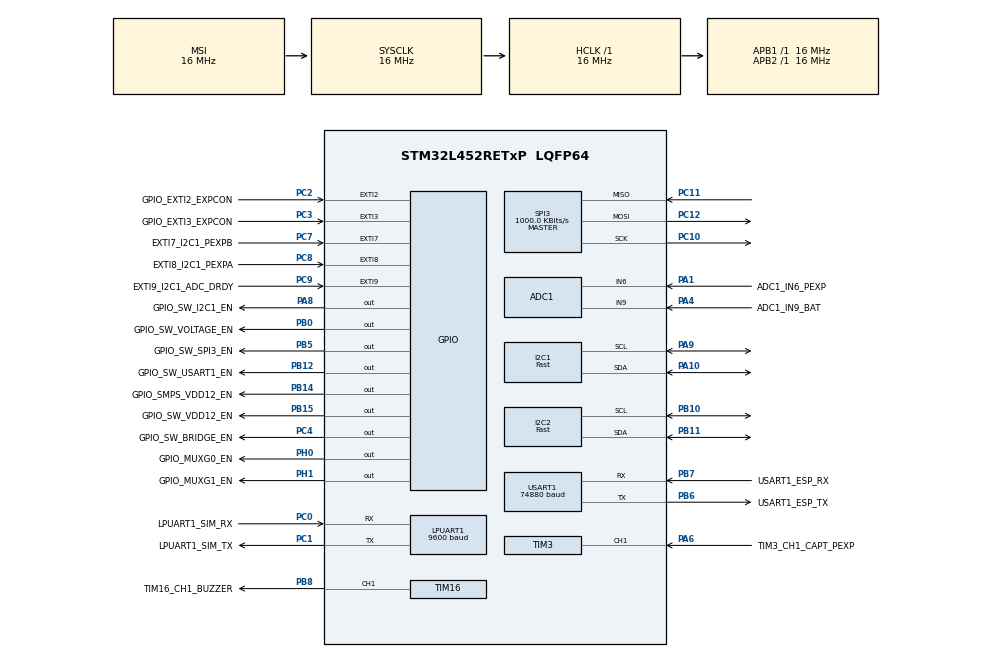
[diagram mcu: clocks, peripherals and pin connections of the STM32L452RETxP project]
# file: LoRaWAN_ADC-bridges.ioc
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ADC1.Channel-0\#ChannelRegularConversion=ADC_CHANNEL_VREFINT
ADC1.Channel-1\#ChannelRegularConversion=ADC_CHANNEL_VBAT
ADC1.Channel-2\#ChannelRegularConversion=ADC_CHANNEL_9
ADC1.Channel-3\#ChannelRegularConversion=ADC_CHANNEL_6
ADC1.Channel-5\#ChannelRegularConversion=ADC_CHANNEL_TEMPSENSOR
ADC1.EOCSelection=ADC_EOC_SEQ_CONV
ADC1.NbrOfConversion=5
ADC1.NbrOfConversionFlag=1
ADC1.OffsetNumber-0\#ChannelRegularConversion=ADC_OFFSET_NONE
ADC1.OffsetNumber-1\#ChannelRegularConversion=ADC_OFFSET_NONE
ADC1.OffsetNumber-2\#ChannelRegularConversion=ADC_OFFSET_NONE
ADC1.OffsetNumber-3\#ChannelRegularConversion=ADC_OFFSET_NONE
ADC1.OffsetNumber-5\#ChannelRegularConversion=ADC_OFFSET_NONE
ADC1.OversamplingMode=ENABLE
ADC1.Rank-0\#ChannelRegularConversion=1
ADC1.Rank-1\#ChannelRegularConversion=2
ADC1.Rank-2\#ChannelRegularConversion=3
ADC1.Rank-3\#ChannelRegularConversion=4
ADC1.Rank-5\#ChannelRegularConversion=5
ADC1.Ratio=ADC_OVERSAMPLING_RATIO_16
ADC1.SamplingTime-0\#ChannelRegularConversion=ADC_SAMPLETIME_12CYCLES_5
ADC1.SamplingTime-1\#ChannelRegularConversion=ADC_SAMPLETIME_12CYCLES_5
ADC1.SamplingTime-2\#ChannelRegularConversion=ADC_SAMPLETIME_12CYCLES_5
ADC1.SamplingTime-3\#ChannelRegularConversion=ADC_SAMPLETIME_12CYCLES_5
ADC1.SamplingTime-5\#ChannelRegularConversion=ADC_SAMPLETIME_47CYCLES_5
ADC1.master=1
CRC.InputDataFormat=CRC_INPUTDATA_FORMAT_WORDS
Dma.ADC1.6.Direction=DMA_PERIPH_TO_MEMORY
Dma.ADC1.6.Instance=DMA1_Channel1
Dma.ADC1.6.MemDataAlignment=DMA_MDATAALIGN_HALFWORD
Dma.ADC1.6.MemInc=DMA_MINC_ENABLE
Dma.ADC1.6.Mode=DMA_NORMAL
Dma.ADC1.6.PeriphDataAlignment=DMA_PDATAALIGN_HALFWORD
Dma.ADC1.6.PeriphInc=DMA_PINC_DISABLE
Dma.ADC1.6.Priority=DMA_PRIORITY_LOW
Dma.I2C1_RX.1.Direction=DMA_PERIPH_TO_MEMORY
Dma.I2C1_RX.1.Instance=DMA1_Channel7
Dma.I2C1_RX.1.MemDataAlignment=DMA_MDATAALIGN_BYTE
Dma.I2C1_RX.1.MemInc=DMA_MINC_ENABLE
Dma.I2C1_RX.1.Mode=DMA_NORMAL
Dma.I2C1_RX.1.PeriphDataAlignment=DMA_PDATAALIGN_BYTE
Dma.I2C1_RX.1.PeriphInc=DMA_PINC_DISABLE
Dma.I2C1_RX.1.Priority=DMA_PRIORITY_LOW
Dma.I2C1_TX.0.Direction=DMA_MEMORY_TO_PERIPH
Dma.I2C1_TX.0.Instance=DMA1_Channel6
Dma.I2C1_TX.0.MemDataAlignment=DMA_MDATAALIGN_BYTE
Dma.I2C1_TX.0.MemInc=DMA_MINC_ENABLE
Dma.I2C1_TX.0.Mode=DMA_NORMAL
Dma.I2C1_TX.0.PeriphDataAlignment=DMA_PDATAALIGN_BYTE
Dma.I2C1_TX.0.PeriphInc=DMA_PINC_DISABLE
Dma.I2C1_TX.0.Priority=DMA_PRIORITY_LOW
Dma.I2C2_RX.8.Direction=DMA_PERIPH_TO_MEMORY
Dma.I2C2_RX.8.Instance=DMA1_Channel5
Dma.I2C2_RX.8.MemDataAlignment=DMA_MDATAALIGN_BYTE
Dma.I2C2_RX.8.MemInc=DMA_MINC_ENABLE
Dma.I2C2_RX.8.Mode=DMA_NORMAL
Dma.I2C2_RX.8.PeriphDataAlignment=DMA_PDATAALIGN_BYTE
Dma.I2C2_RX.8.PeriphInc=DMA_PINC_DISABLE
Dma.I2C2_RX.8.Priority=DMA_PRIORITY_LOW
Dma.I2C2_TX.7.Direction=DMA_MEMORY_TO_PERIPH
Dma.I2C2_TX.7.Instance=DMA1_Channel4
Dma.I2C2_TX.7.MemDataAlignment=DMA_MDATAALIGN_BYTE
Dma.I2C2_TX.7.MemInc=DMA_MINC_ENABLE
Dma.I2C2_TX.7.Mode=DMA_NORMAL
Dma.I2C2_TX.7.PeriphDataAlignment=DMA_PDATAALIGN_BYTE
Dma.I2C2_TX.7.PeriphInc=DMA_PINC_DISABLE
Dma.I2C2_TX.7.Priority=DMA_PRIORITY_LOW
Dma.LPUART_RX.5.Direction=DMA_PERIPH_TO_MEMORY
Dma.LPUART_RX.5.Instance=DMA2_Channel7
Dma.LPUART_RX.5.MemDataAlignment=DMA_MDATAALIGN_BYTE
Dma.LPUART_RX.5.MemInc=DMA_MINC_ENABLE
Dma.LPUART_RX.5.Mode=DMA_NORMAL
Dma.LPUART_RX.5.PeriphDataAlignment=DMA_PDATAALIGN_BYTE
Dma.LPUART_RX.5.PeriphInc=DMA_PINC_DISABLE
Dma.LPUART_RX.5.Priority=DMA_PRIORITY_LOW
Dma.LPUART_TX.4.Direction=DMA_MEMORY_TO_PERIPH
Dma.LPUART_TX.4.Instance=DMA2_Channel6
Dma.LPUART_TX.4.MemDataAlignment=DMA_MDATAALIGN_BYTE
Dma.LPUART_TX.4.MemInc=DMA_MINC_ENABLE
Dma.LPUART_TX.4.Mode=DMA_NORMAL
Dma.LPUART_TX.4.PeriphDataAlignment=DMA_PDATAALIGN_BYTE
Dma.LPUART_TX.4.PeriphInc=DMA_PINC_DISABLE
Dma.LPUART_TX.4.Priority=DMA_PRIORITY_LOW
Dma.Request0=I2C1_TX
Dma.Request1=I2C1_RX
Dma.Request2=SPI3_TX
Dma.Request3=SPI3_RX
Dma.Request4=LPUART_TX
Dma.Request5=LPUART_RX
Dma.Request6=ADC1
Dma.Request7=I2C2_TX
Dma.Request8=I2C2_RX
Dma.SPI3_RX.3.Direction=DMA_PERIPH_TO_MEMORY
Dma.SPI3_RX.3.Instance=DMA2_Channel1
Dma.SPI3_RX.3.MemDataAlignment=DMA_MDATAALIGN_BYTE
Dma.SPI3_RX.3.MemInc=DMA_MINC_ENABLE
Dma.SPI3_RX.3.Mode=DMA_NORMAL
Dma.SPI3_RX.3.PeriphDataAlignment=DMA_PDATAALIGN_BYTE
Dma.SPI3_RX.3.PeriphInc=DMA_PINC_DISABLE
Dma.SPI3_RX.3.Priority=DMA_PRIORITY_LOW
Dma.SPI3_TX.2.Direction=DMA_MEMORY_TO_PERIPH
Dma.SPI3_TX.2.Instance=DMA2_Channel2
Dma.SPI3_TX.2.MemDataAlignment=DMA_MDATAALIGN_BYTE
Dma.SPI3_TX.2.MemInc=DMA_MINC_ENABLE
Dma.SPI3_TX.2.Mode=DMA_NORMAL
Dma.SPI3_TX.2.PeriphDataAlignment=DMA_PDATAALIGN_BYTE
Dma.SPI3_TX.2.PeriphInc=DMA_PINC_DISABLE
Dma.SPI3_TX.2.Priority=DMA_PRIORITY_LOW
FREERTOS.BinarySemaphores01=usart1Tx_BSem,Dynamic,NULL;usart1Rx_BSem,Dynamic,NULL;i2c1_BSem,Dynamic,NULL;i2c2_BSem,Dynamic,NULL;spi3_BSem,Dynamic,NULL
FREERTOS.INCLUDE_eTaskGetState=1
FREERTOS.INCLUDE_pcTaskGetTaskName=1
FREERTOS.INCLUDE_uxTaskGetStackHighWaterMark=1
FREERTOS.INCLUDE_vTaskCleanUpResources=1
FREERTOS.INCLUDE_vTaskDelayUntil=1
FREERTOS.INCLUDE_vTaskDelete=1
FREERTOS.INCLUDE_xEventGroupSetBitFromISR=1
FREERTOS.INCLUDE_xQueueGetMutexHolder=1
FREERTOS.INCLUDE_xSemaphoreGetMutexHolder=1
FREERTOS.INCLUDE_xTaskAbortDelay=1
FREERTOS.INCLUDE_xTaskGetCurrentTaskHandle=1
FREERTOS.INCLUDE_xTaskGetHandle=1
FREERTOS.INCLUDE_xTaskGetSchedulerState=1
FREERTOS.INCLUDE_xTimerPendFunctionCall=1
FREERTOS.Mutexes01=trackMeApplUpDataMutex,Dynamic,NULL;trackMeApplDnDataMutex,Dynamic,NULL;iot4BeesApplUpDataMutex,Dynamic,NULL;iot4BeesApplDnDataMutex,Dynamic,NULL
FREERTOS.Queues01=usart1TxQueue,256,uint8_t,0,Dynamic,NULL,NULL;usart1RxQueue,32,uint8_t,0,Dynamic,NULL,NULL;loraInQueue,32,uint8_t,0,Dynamic,NULL,NULL;loraOutQueue,32,uint8_t,0,Dynamic,NULL,NULL;loraMacQueue,8,uint8_t,0,Dynamic,NULL,NULL;soundInQueue,8,uint32_t,0,Dynamic,NULL,NULL
FREERTOS.Tasks01=defaultTask,-1,512,StartDefaultTask,Default,NULL,Dynamic,NULL,NULL;usart1TxTask,0,256,StartUsart1TxTask,Default,NULL,Dynamic,NULL,NULL;usart1RxTask,1,256,StartUsart1RxTask,Default,NULL,Dynamic,NULL,NULL;lorawanTask,0,512,StartLorawanTask,Default,NULL,Dynamic,NULL,NULL;espTask,0,512,StartEspTask,Default,NULL,Dynamic,NULL,NULL;adcTask,0,512,StartAdcTask,Default,NULL,Dynamic,NULL,NULL;soundTask,-2,256,StartSoundTask,Default,NULL,Dynamic,NULL,NULL
FREERTOS.configCHECK_FOR_STACK_OVERFLOW=1
FREERTOS.configENABLE_BACKWARD_COMPATIBILITY=0
FREERTOS.configGENERATE_RUN_TIME_STATS=1
FREERTOS.configMAX_TASK_NAME_LEN=32
FREERTOS.configMINIMAL_STACK_SIZE=256
FREERTOS.configQUEUE_REGISTRY_SIZE=32
FREERTOS.configRECORD_STACK_HIGH_ADDRESS=1
FREERTOS.configTIMER_QUEUE_LENGTH=4
FREERTOS.configTOTAL_HEAP_SIZE=32768
FREERTOS.configUSE_APPLICATION_TASK_TAG=1
FREERTOS.configUSE_COUNTING_SEMAPHORES=1
FREERTOS.configUSE_IDLE_HOOK=1
FREERTOS.configUSE_MALLOC_FAILED_HOOK=1
FREERTOS.configUSE_RECURSIVE_MUTEXES=0
FREERTOS.configUSE_STATS_FORMATTING_FUNCTIONS=1
FREERTOS.configUSE_TICKLESS_IDLE=0
FREERTOS.configUSE_TIMERS=1
FREERTOS.configUSE_TRACE_FACILITY=1
I2C1.I2C_Coeff_DF=2
I2C1.I2C_Fall_Time=120
I2C1.I2C_Rise_Time=150
I2C1.I2C_Speed_Mode=I2C_Fast
I2C1.Timing=0x00300414
I2C2.I2C_Coeff_DF=2
I2C2.I2C_Fall_Time=120
I2C2.I2C_Rise_Time=150
I2C2.I2C_Speed_Mode=I2C_Fast
I2C2.Timing=0x00300414
LPUART1.BaudRate=9600
LPUART1.WordLength=UART_WORDLENGTH_8B
Mcu.Family=STM32L4
Mcu.Name=STM32L452RETxP
Mcu.Package=LQFP64
NVIC.ADC1_IRQn=true\:5\:0\:false\:false\:true\:true\:true\:true
NVIC.DMA1_Channel1_IRQn=true\:5\:0\:false\:false\:true\:true\:false\:true
NVIC.DMA1_Channel4_IRQn=true\:5\:0\:false\:false\:true\:true\:false\:true
NVIC.DMA1_Channel5_IRQn=true\:5\:0\:false\:false\:true\:true\:false\:true
NVIC.DMA1_Channel6_IRQn=true\:5\:0\:false\:false\:true\:true\:true\:true
NVIC.DMA1_Channel7_IRQn=true\:5\:0\:false\:false\:true\:true\:true\:true
NVIC.DMA2_Channel1_IRQn=true\:5\:0\:false\:false\:true\:true\:true\:true
NVIC.DMA2_Channel2_IRQn=true\:5\:0\:false\:false\:true\:true\:true\:true
NVIC.DMA2_Channel6_IRQn=true\:5\:0\:false\:false\:true\:true\:true\:true
NVIC.DMA2_Channel7_IRQn=true\:5\:0\:false\:false\:true\:true\:true\:true
NVIC.EXTI2_IRQn=true\:5\:0\:false\:false\:true\:true\:true\:true
NVIC.EXTI3_IRQn=true\:5\:0\:false\:false\:true\:true\:true\:true
NVIC.EXTI9_5_IRQn=true\:5\:0\:false\:false\:true\:true\:true\:true
NVIC.I2C1_ER_IRQn=true\:5\:0\:false\:false\:true\:true\:true\:true
NVIC.I2C1_EV_IRQn=true\:5\:0\:false\:false\:true\:true\:true\:true
NVIC.I2C2_ER_IRQn=true\:5\:0\:false\:false\:true\:true\:true\:true
NVIC.I2C2_EV_IRQn=true\:5\:0\:false\:false\:true\:true\:true\:true
NVIC.LPUART1_IRQn=true\:5\:0\:false\:false\:true\:true\:true\:true
NVIC.PriorityGroup=NVIC_PRIORITYGROUP_4
NVIC.RTC_WKUP_IRQn=true\:5\:0\:false\:false\:true\:true\:true\:true
NVIC.SPI3_IRQn=true\:5\:0\:false\:false\:true\:true\:true\:true
NVIC.TIM2_IRQn=true\:0\:0\:false\:false\:true\:false\:false\:true
NVIC.TimeBase=TIM2_IRQn
NVIC.TimeBaseIP=TIM2
NVIC.USART1_IRQn=true\:5\:0\:false\:false\:true\:true\:true\:true
PA0.GPIO_Label=REED_WKUP
PA0.Mode=SYS_WakeUp0
PA0.Signal=SYS_WKUP1
PA1.GPIO_Label=ADC1_IN6_PEXP
PA1.Signal=ADCx_IN6
PA10.GPIO_PuPdOD=GPIO_NOPULL
PA10.GPIO_Speed=GPIO_SPEED_FREQ_HIGH
PA10.Mode=I2C
PA10.Signal=I2C1_SDA
PA11.GPIO_Label=USART1_ESP_CTS
PA11.GPIO_PuPd=GPIO_PULLUP
PA11.GPIO_Speed=GPIO_SPEED_FREQ_MEDIUM
PA11.Signal=USART1_CTS
PA12.GPIO_Label=USART1_ESP_RTS
PA12.GPIO_PuPd=GPIO_PULLUP
PA12.GPIO_Speed=GPIO_SPEED_FREQ_MEDIUM
PA12.Signal=USART1_RTS
PA13\ (JTMS/SWDIO).Mode=Serial_Wire
PA13\ (JTMS/SWDIO).Signal=SYS_JTMS-SWDIO
PA14\ (JTCK/SWCLK).Mode=Serial_Wire
PA14\ (JTCK/SWCLK).Signal=SYS_JTCK-SWCLK
PA2.Mode=Clock-out-LSCO
PA2.Signal=RCC_LSCO
PA4.GPIO_Label=ADC1_IN9_BAT
PA4.Signal=ADCx_IN9
PA6.GPIO_Label=TIM3_CH1_CAPT_PEXP
PA6.Signal=S_TIM3_CH1
PA8.GPIO_Label=GPIO_SW_I2C1_EN
PA8.GPIO_PuPd=GPIO_NOPULL
PA8.Signal=GPIO_Output
PA9.GPIO_PuPdOD=GPIO_NOPULL
PA9.GPIO_Speed=GPIO_SPEED_FREQ_HIGH
PA9.Mode=I2C
PA9.Signal=I2C1_SCL
PB0.GPIO_Label=GPIO_SW_VOLTAGE_EN
PB0.GPIO_PuPd=GPIO_NOPULL
PB0.Signal=GPIO_Output
PB1.GPIO_Label=LPUART1_SIM_RTS
PB1.GPIO_PuPd=GPIO_PULLUP
PB1.GPIO_Speed=GPIO_SPEED_FREQ_MEDIUM
PB1.Signal=LPUART1_RTS
PB10.GPIO_PuPdOD=GPIO_PULLUP
PB10.GPIO_Speed=GPIO_SPEED_FREQ_HIGH
PB10.Mode=I2C
PB10.Signal=I2C2_SCL
PB11.GPIO_PuPdOD=GPIO_PULLUP
PB11.GPIO_Speed=GPIO_SPEED_FREQ_HIGH
PB11.Mode=I2C
PB11.Signal=I2C2_SDA
PB12.GPIO_Label=GPIO_SW_USART1_EN
PB12.GPIO_PuPd=GPIO_NOPULL
PB12.Signal=GPIO_Output
PB13.GPIO_Label=LPUART1_SIM_CTS
PB13.GPIO_PuPd=GPIO_PULLUP
PB13.GPIO_Speed=GPIO_SPEED_FREQ_MEDIUM
PB13.Signal=LPUART1_CTS
PB14.GPIO_Label=GPIO_SMPS_VDD12_EN
PB14.GPIO_PuPd=GPIO_NOPULL
PB14.Signal=GPIO_Output
PB15.GPIO_Label=GPIO_SW_VDD12_EN
PB15.GPIO_PuPd=GPIO_NOPULL
PB15.Signal=GPIO_Output
PB5.GPIO_Label=GPIO_SW_SPI3_EN
PB5.GPIO_PuPd=GPIO_NOPULL
PB5.Signal=GPIO_Output
PB6.GPIO_Label=USART1_ESP_TX
PB6.GPIO_Speed=GPIO_SPEED_FREQ_MEDIUM
PB6.Mode=Asynchronous
PB6.Signal=USART1_TX
PB7.GPIO_Label=USART1_ESP_RX
PB7.GPIO_PuPd=GPIO_PULLUP
PB7.GPIO_Speed=GPIO_SPEED_FREQ_MEDIUM
PB7.Mode=Asynchronous
PB7.Signal=USART1_RX
PB8.GPIO_Label=TIM16_CH1_BUZZER
PB8.Signal=S_TIM16_CH1
PC0.GPIO_Label=LPUART1_SIM_RX
PC0.GPIO_PuPd=GPIO_PULLUP
PC0.GPIO_Speed=GPIO_SPEED_FREQ_MEDIUM
PC0.Mode=Asynchronous
PC0.Signal=LPUART1_RX
PC1.GPIO_Label=LPUART1_SIM_TX
PC1.GPIO_Speed=GPIO_SPEED_FREQ_MEDIUM
PC1.Mode=Asynchronous
PC1.Signal=LPUART1_TX
PC10.Mode=Full_Duplex_Master
PC10.Signal=SPI3_SCK
PC11.GPIO_PuPd=GPIO_PULLDOWN
PC11.Mode=Full_Duplex_Master
PC11.Signal=SPI3_MISO
PC12.Mode=Full_Duplex_Master
PC12.Signal=SPI3_MOSI
PC13.GPIO_Label=BOARD_WKUP
PC13.Mode=SYS_WakeUp1
PC13.Signal=SYS_WKUP2
PC14-OSC32_IN\ (PC14).Mode=LSE-External-Oscillator
PC14-OSC32_IN\ (PC14).Signal=RCC_OSC32_IN
PC15-OSC32_OUT\ (PC15).Mode=LSE-External-Oscillator
PC15-OSC32_OUT\ (PC15).Signal=RCC_OSC32_OUT
PC2.GPIO_Label=GPIO_EXTI2_EXPCON
PC2.GPIO_PuPd=GPIO_PULLDOWN
PC2.Signal=GPXTI2
PC3.GPIO_Label=GPIO_EXTI3_EXPCON
PC3.GPIO_PuPd=GPIO_PULLDOWN
PC3.Signal=GPXTI3
PC4.GPIO_Label=GPIO_SW_BRIDGE_EN
PC4.GPIO_PuPd=GPIO_NOPULL
PC4.Signal=GPIO_Output
PC7.GPIO_Label=EXTI7_I2C1_PEXPB
PC7.GPIO_ModeDefaultEXTI=GPIO_MODE_IT_FALLING
PC7.GPIO_PuPd=GPIO_PULLUP
PC7.Signal=GPXTI7
PC8.GPIO_Label=EXTI8_I2C1_PEXPA
PC8.GPIO_ModeDefaultEXTI=GPIO_MODE_IT_FALLING
PC8.GPIO_PuPd=GPIO_PULLUP
PC8.Signal=GPXTI8
PC9.GPIO_Label=EXTI9_I2C1_ADC_DRDY
PC9.GPIO_PuPd=GPIO_PULLDOWN
PC9.Signal=GPXTI9
PH0-OSC_IN\ (PH0).GPIO_Label=GPIO_MUXG0_EN
PH0-OSC_IN\ (PH0).GPIO_PuPd=GPIO_NOPULL
PH0-OSC_IN\ (PH0).Signal=GPIO_Output
PH1-OSC_OUT\ (PH1).GPIO_Label=GPIO_MUXG1_EN
PH1-OSC_OUT\ (PH1).GPIO_PuPd=GPIO_NOPULL
PH1-OSC_OUT\ (PH1).Signal=GPIO_Output
ProjectManager.HeapSize=0x200
ProjectManager.StackSize=0x400
ProjectManager.TargetToolchain=TrueSTUDIO
RCC.ADCCLockSelection=RCC_ADCCLKSOURCE_SYSCLK
RCC.ADCFreq_Value=16000000
RCC.AHBFreq_Value=16000000
RCC.APB1Freq_Value=16000000
RCC.APB1TimFreq_Value=16000000
RCC.APB2Freq_Value=16000000
RCC.APB2TimFreq_Value=16000000
RCC.CK48CLockSelection=RCC_USBCLKSOURCE_MSI
RCC.CortexFreq_Value=16000000
RCC.HCLKFreq_Value=16000000
RCC.HSE_VALUE=8000000
RCC.HSI48_VALUE=48000000
RCC.HSI_VALUE=16000000
RCC.LPUART1CLockSelection=RCC_LPUART1CLKSOURCE_HSI
RCC.LSCOSource1=RCC_LSCOSOURCE_LSE
RCC.LSE_Drive_Capability=RCC_LSEDRIVE_LOW
RCC.MSIClockRange=RCC_MSIRANGE_8
RCC.MSI_VALUE=16000000
RCC.PLLSourceVirtual=RCC_PLLSOURCE_HSI
RCC.PREFETCH_ENABLE=0
RCC.PWR_Regulator_Voltage_Scale=PWR_REGULATOR_VOLTAGE_SCALE2
RCC.RTCClockSelection=RCC_RTCCLKSOURCE_LSE
RCC.SYSCLKFreq_VALUE=16000000
RCC.USBFreq_Value=16000000
RCC.VCOOutputFreq_Value=128000000
RTC.WakeUpClock-WakeUp=RTC_WAKEUPCLOCK_CK_SPRE_16BITS
RTC.WakeUpCounter-WakeUp=299
SH.ADCx_IN6.0=ADC1_IN6,IN6-Single-Ended
SH.ADCx_IN9.0=ADC1_IN9,IN9-Single-Ended
SH.S_TIM16_CH1.0=TIM16_CH1,PWM Generation1 CH1
SH.S_TIM3_CH1.0=TIM3_CH1,Input_Capture1_from_TI1
SPI3.BaudRatePrescaler=SPI_BAUDRATEPRESCALER_16
SPI3.CLKPhase=SPI_PHASE_1EDGE
SPI3.CalculateBaudRate=1000.0 KBits/s
SPI3.DataSize=SPI_DATASIZE_8BIT
SPI3.Direction=SPI_DIRECTION_2LINES
SPI3.Mode=SPI_MODE_MASTER
SPI3.VirtualType=VM_MASTER
TIM16.Channel=TIM_CHANNEL_1
TIM16.Pulse=36364
TIM3.Channel-Input_Capture1_from_TI1=TIM_CHANNEL_1
USART1.BaudRate=74880
USART1.VirtualMode-Asynchronous=VM_ASYNC
VP_ADC1_TempSens_Input.Mode=IN-TempSens
VP_ADC1_Vbat_Input.Mode=IN-Vbat
VP_ADC1_Vref_Input.Mode=IN-Vrefint
VP_CRC_VS_CRC.Mode=CRC_Activate
VP_FREERTOS_VS_CMSIS_V1.Mode=CMSIS_V1
VP_RNG_VS_RNG.Mode=RNG_Activate
VP_RTC_VS_RTC_Activate.Mode=RTC_Enabled
VP_RTC_VS_RTC_WakeUp_intern.Mode=WakeUp
VP_SYS_VS_tim2.Mode=TIM2
VP_SYS_V_PVD_IN.Mode=Mode_PVD_Int
VP_TIM16_VS_ClockSourceINT.Mode=Enable_Timer
VP_TIM3_VS_ClockSourceINT.Mode=Internal
board=custom

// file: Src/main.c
/* USER CODE BEGIN Header */
/**
  ******************************************************************************
  * @file           : main.c
  * @brief          : Main program body
  ******************************************************************************
  * @attention
  *
  * <h2><center>&copy; Copyright (c) 2019 STMicroelectronics.
  * All rights reserved.</center></h2>
  *
  * This software component is licensed by ST under Ultimate Liberty license
  * SLA0044, the "License"; You may not use this file except in compliance with
  * the License. You may obtain a copy of the License at:
  *                             www.st.com/SLA0044
  *
  ******************************************************************************
  */
/* USER CODE END Header */

#include "main.h"
#include "cmsis_os.h"
#include "adc.h"
#include "crc.h"
#include "dma.h"
#include "i2c.h"
#include "usart.h"
#include "rng.h"
#include "rtc.h"
#include "spi.h"
#include "tim.h"
#include "gpio.h"

/* USER CODE BEGIN Includes */
#include "stm32l4xx_hal_pwr_ex.h"
#include "device_portexp.h"
#include "device_fram.h"
#include "device_sx1261.h"

/* USER CODE END Includes */

/* USER CODE BEGIN PV */
extern TIM_HandleTypeDef              htim2;

uint32_t                              g_RTC_WUT_value         = 2048UL * 5UL;  // Wakeup every 5 secs

ENABLE_MASK_t                         g_enableMsk             = ENABLE_MASK__LORAWAN_DEVICE;
MON_MASK_t                            g_monMsk                = MON_MASK__LORA;

static uint64_t                       s_timerLast_us          = 0ULL;
static uint64_t                       s_timerStart_us         = 0ULL;

/* USER CODE END PV */

void SystemClock_Config(void);
void MX_FREERTOS_Init(void);

/* USER CODE BEGIN 0 */

inline
uint8_t GET_BYTE_OF_WORD(uint32_t word, uint8_t pos)
{
  return (uint8_t) ((word >> (8 * pos)) & 0x000000ffUL);
}

void mainCalc_Float2Int(float in, uint32_t* out_i, uint16_t* out_p1000)
{
  if (in < 0) {
    in = -in;
  }

  *out_i      = (uint32_t) in;
  *out_p1000  = (uint16_t) (((uint32_t) (in * 1000.f)) % 1000);
}

uint32_t mainGetRand(void)
{
  uint32_t r;

  __HAL_RCC_RNG_CLK_ENABLE();
  osDelay(2UL);
  HAL_RNG_GenerateRandomNumber(&hrng, &r);
  __HAL_RCC_RNG_CLK_DISABLE();

  return r;
}

/* Used by the run-time stats */
void configureTimerForRunTimeStats(void)
{
  getRunTimeCounterValue();

  /* Interrupt disabled block */
  {
    __disable_irq();

    s_timerStart_us = s_timerLast_us;

    __enable_irq();
  }
}

/* Used by the run-time stats */
unsigned long getRunTimeCounterValue(void)
{
  uint64_t l_timerStart_us = 0ULL;
  uint64_t l_timer_us = HAL_GetTick() & 0x003fffffUL;                                                   // avoid overflows

  /* Add microseconds */
  l_timer_us *= 1000ULL;
  l_timer_us += TIM2->CNT % 1000UL;                                                                     // TIM2 counts microseconds

  /* Interrupt disabled block */
  {
    __disable_irq();

    s_timerLast_us  = l_timer_us;
    l_timerStart_us = s_timerStart_us;

    __enable_irq();
  }

  uint64_t l_timerDiff64 = (l_timer_us >= l_timerStart_us) ?  (l_timer_us - l_timerStart_us) : l_timer_us;
  uint32_t l_timerDiff32 = (uint32_t) (l_timerDiff64 & 0xffffffffULL);
  return l_timerDiff32;
}

void mainInitMxMinimal(void)
{
  MX_GPIO_Init();
  MX_GPIO_Init_WKUP_REED();
  MX_DMA_Init();

  #ifdef MAIN_INIT_MX_RTC
  MX_RTC_Init();
  #endif

  #ifdef MAIN_INIT_MX_TIM3
  MX_TIM3_Init();
  #endif

  #ifdef MAIN_INIT_MX_TIM16
  MX_TIM16_Init();
  #endif

  #ifdef MAIN_INIT_MX_LPUART1
  MX_LPUART1_UART_Init();
  #endif

  #ifdef MAIN_INIT_MX_USART1
  MX_USART1_UART_Init();
  #endif

  #ifdef MAIN_INIT_MX_I2C1
  MX_I2C1_Init();
  #endif

  #ifdef MAIN_INIT_MX_I2C2
  MX_I2C2_Init();
  #endif

  #ifdef MAIN_INIT_MX_SPI3
  MX_SPI3_Init();
  #endif

  #ifdef MAIN_INIT_MX_ADC1
  MX_ADC1_Init();
  #endif

  #ifdef MAIN_INIT_MX_CRC
  MX_CRC_Init();
  __HAL_RCC_CRC_CLK_DISABLE();
  #endif

  #ifdef MAIN_INIT_MX_RNG
  MX_RNG_Init();
  __HAL_RCC_RNG_CLK_DISABLE();
  #endif
}

void mainDeInitMxMinimal(void)
{
  /* Keeping SX1261 in reset state */
  sxReset(true);

  /* Shutdown everything that is possible for the deep sleep taking minutes */
  #ifdef MAIN_DEINIT_MX_RNG
  HAL_RNG_DeInit(&hrng);
  #endif

  #ifdef MAIN_DEINIT_MX_CRC
  HAL_CRC_DeInit(&hcrc);
  #endif

  #ifdef MAIN_DEINIT_MX_ADC1
  HAL_ADC_DeInit(&hadc1);
  #endif

  #ifdef MAIN_DEINIT_MX_I2C1
  HAL_I2C_MspDeInit(&hi2c1);
  #endif

  #ifdef MAIN_DEINIT_MX_I2C2
  HAL_I2C_MspDeInit(&hi2c2);
  #endif

  #ifdef MAIN_DEINIT_MX_SPI3
  HAL_SPI_MspDeInit(&hspi3);
  #endif

  #ifdef MAIN_DEINIT_MX_LPUART1
  HAL_UART_MspDeInit(&hlpuart1);
  #endif

  #ifdef MAIN_DEINIT_MX_USART1
  HAL_UART_MspDeInit(&huart1);
  #endif

  #ifdef MAIN_DEINIT_MX_TIM3
  HAL_TIM_Base_MspDeInit(&htim3);
  #endif

  #ifdef MAIN_DEINIT_MX_TIM16
  HAL_TIM_Base_MspDeInit(&htim16);
  #endif

  #ifdef MAIN_DEINIT_MX_RTC
  HAL_RTC_MspDeInit(&hrtc);
  #endif

  MX_DMA_DeInit();

  MX_GPIO_DeInit();
}

void mainGotoDeepSleep(void)
{
   /* Prepare for deep sleep */
  mainDeInitMxMinimal();

  /* PU / PD during Standby and Shutdown modes */
  HAL_PWREx_EnableGPIOPullDown(PWR_GPIO_B, PWR_GPIO_BIT_5);     // GPIO_SW_SPI3_EN_GPIO_Port,     GPIO_SW_SPI3_EN_Pin
  HAL_PWREx_EnableGPIOPullDown(PWR_GPIO_A, PWR_GPIO_BIT_8);     // GPIO_SW_I2C1_EN_GPIO_Port,     GPIO_SW_I2C1_EN_Pin
  HAL_PWREx_EnableGPIOPullDown(PWR_GPIO_B, PWR_GPIO_BIT_14);    // GPIO_SMPS_VDD12_EN_GPIO_Port,  GPIO_SMPS_VDD12_EN_Pin
  HAL_PWREx_EnableGPIOPullDown(PWR_GPIO_B, PWR_GPIO_BIT_15);    // GPIO_SW_VDD12_EN_GPIO_Port,    GPIO_SW_VDD12_EN_Pin
  HAL_PWREx_EnableGPIOPullDown(PWR_GPIO_B, PWR_GPIO_BIT_12);    // GPIO_SW_USART1_EN_GPIO_Port,   GPIO_SW_USART1_EN_Pin
  HAL_PWREx_EnableGPIOPullDown(PWR_GPIO_C, PWR_GPIO_BIT_4);     // GPIO_SW_BRIDGE_EN_GPIO_Port,   GPIO_SW_BRIDGE_EN_Pin
  HAL_PWREx_EnableGPIOPullDown(PWR_GPIO_B, PWR_GPIO_BIT_0);     // GPIO_SW_VOLTAGE_EN_GPIO_Port,  GPIO_SW_VOLTAGE_EN_Pin
  HAL_PWREx_EnableGPIOPullDown(PWR_GPIO_H, PWR_GPIO_BIT_0);     // GPIO_MUXG0_EN_GPIO_Port,       GPIO_MUXG0_EN_Pin
  HAL_PWREx_EnableGPIOPullDown(PWR_GPIO_H, PWR_GPIO_BIT_1);     // GPIO_MUXG1_EN_GPIO_Port,       GPIO_MUXG1_EN_Pin
  HAL_PWREx_EnableGPIOPullDown(PWR_GPIO_C, PWR_GPIO_BIT_13);    // BOARD_WKUP_GPIO_Port,          BOARD_WKUP_Pin
  HAL_PWREx_EnableGPIOPullDown(PWR_GPIO_A, PWR_GPIO_BIT_0);     // REED_WKUP_GPIO_Port,           REED_WKUP_Pin
  HAL_PWREx_EnableGPIOPullDown(PWR_GPIO_C, PWR_GPIO_BIT_2);     // GPIO_EXTI2_EXPCON_GPIO_Port,   GPIO_EXTI2_EXPCON_Pin
  HAL_PWREx_EnableGPIOPullDown(PWR_GPIO_C, PWR_GPIO_BIT_3);     // GPIO_EXTI3_EXPCON_GPIO_Port,   GPIO_EXTI3_EXPCON_Pin
  HAL_PWREx_EnableGPIOPullDown(PWR_GPIO_C, PWR_GPIO_BIT_7);     // EXTI7_I2C1_PEXPB_GPIO_Port,    EXTI7_I2C1_PEXPB_Pin
  HAL_PWREx_EnableGPIOPullDown(PWR_GPIO_C, PWR_GPIO_BIT_8);     // EXTI8_I2C1_PEXPA_GPIO_Port,    EXTI8_I2C1_PEXPA_Pin
  HAL_PWREx_EnableGPIOPullDown(PWR_GPIO_C, PWR_GPIO_BIT_9);     // EXTI9_I2C1_ADC_DRDY_GPIO_Port, EXTI9_I2C1_ADC_DRDY_Pin
  HAL_PWREx_EnablePullUpPullDownConfig();

  /* Enable WKUP pins */
  HAL_PWR_EnableWakeUpPin(PWR_WAKEUP_PIN2_HIGH);                // REED_WKUP
  HAL_PWR_EnableWakeUpPin(PWR_WAKEUP_PIN1_HIGH);                // BOARD_WKUP

  /* Enter deep sleep */
  HAL_PWREx_EnterSHUTDOWNMode();
}

/* USER CODE END 0 */

int main(void)
{
  /* USER CODE BEGIN 1 */

  /* Check for the reason to enter this main() again */
  if (!(RCC->CSR & 0xff000000UL)) {
    /* Wake-up event is triggered */

    /* Init to be able to access the RTC backup registers */
    HAL_Init();
    SystemClock_Config();
    mainInitMxMinimal();

    /* Counter in the backup-domain to be incremented */
    uint32_t counter = HAL_RTCEx_BKUPRead(&hrtc, 31UL);
    HAL_RTCEx_BKUPWrite(&hrtc, 31UL, ++counter);

    /* ARM software reset to be done */
    HAL_NVIC_SystemReset();
  }

  /* Clear the reason flags */
  __HAL_RCC_CLEAR_RESET_FLAGS();

  /* USER CODE END 1 */

  /* MCU Configuration--------------------------------------------------------*/

  /* Reset of all peripherals, Initializes the Flash interface and the Systick. */
  HAL_Init();

  /* Configure the system clock */
  SystemClock_Config();

  /* USER CODE BEGIN SysInit */
  #ifdef DO_INIT_ALL
  /* USER CODE END SysInit */

  /* Initialize all configured peripherals */
  MX_GPIO_Init();
  MX_DMA_Init();
  MX_ADC1_Init();
  MX_I2C1_Init();
  MX_I2C2_Init();
  MX_LPUART1_UART_Init();
  MX_USART1_UART_Init();
  MX_RTC_Init();
  MX_SPI3_Init();
  MX_TIM3_Init();
  MX_TIM16_Init();
  MX_CRC_Init();
  MX_RNG_Init();
  /* USER CODE BEGIN 2 */
  #endif
  mainInitMxMinimal();

  /* Enable clock capacitor charger as soon as possible */
  HAL_PWREx_EnableBatteryCharging(PWR_BATTERY_CHARGING_RESISTOR_1_5);

  /* USER CODE END 2 */

  /* Call init function for freertos objects (in freertos.c) */
  MX_FREERTOS_Init();
  /* Start scheduler */
  osKernelStart();

  /* We should never get here as control is now taken by the scheduler */
  /* Infinite loop */
  while (1)
  {

  }
}

void SystemClock_Config(void)
{
  RCC_OscInitTypeDef RCC_OscInitStruct = {0};
  RCC_ClkInitTypeDef RCC_ClkInitStruct = {0};
  RCC_PeriphCLKInitTypeDef PeriphClkInit = {0};

  /** Configure LSE Drive Capability
  */
  HAL_PWR_EnableBkUpAccess();
  __HAL_RCC_LSEDRIVE_CONFIG(RCC_LSEDRIVE_LOW);
  /** Initializes the CPU, AHB and APB busses clocks
  */
  RCC_OscInitStruct.OscillatorType = RCC_OSCILLATORTYPE_HSI|RCC_OSCILLATORTYPE_LSE
                              |RCC_OSCILLATORTYPE_MSI;
  RCC_OscInitStruct.LSEState = RCC_LSE_ON;
  RCC_OscInitStruct.HSIState = RCC_HSI_ON;
  RCC_OscInitStruct.HSICalibrationValue = RCC_HSICALIBRATION_DEFAULT;
  RCC_OscInitStruct.MSIState = RCC_MSI_ON;
  RCC_OscInitStruct.MSICalibrationValue = 0;
  RCC_OscInitStruct.MSIClockRange = RCC_MSIRANGE_8;
  RCC_OscInitStruct.PLL.PLLState = RCC_PLL_NONE;
  if (HAL_RCC_OscConfig(&RCC_OscInitStruct) != HAL_OK)
  {
    Error_Handler();
  }
  /** Initializes the CPU, AHB and APB busses clocks
  */
  RCC_ClkInitStruct.ClockType = RCC_CLOCKTYPE_HCLK|RCC_CLOCKTYPE_SYSCLK
                              |RCC_CLOCKTYPE_PCLK1|RCC_CLOCKTYPE_PCLK2;
  RCC_ClkInitStruct.SYSCLKSource = RCC_SYSCLKSOURCE_MSI;
  RCC_ClkInitStruct.AHBCLKDivider = RCC_SYSCLK_DIV1;
  RCC_ClkInitStruct.APB1CLKDivider = RCC_HCLK_DIV1;
  RCC_ClkInitStruct.APB2CLKDivider = RCC_HCLK_DIV1;

  if (HAL_RCC_ClockConfig(&RCC_ClkInitStruct, FLASH_LATENCY_2) != HAL_OK)
  {
    Error_Handler();
  }
  PeriphClkInit.PeriphClockSelection = RCC_PERIPHCLK_RTC|RCC_PERIPHCLK_USART1
                              |RCC_PERIPHCLK_LPUART1|RCC_PERIPHCLK_I2C1
                              |RCC_PERIPHCLK_I2C2|RCC_PERIPHCLK_RNG
                              |RCC_PERIPHCLK_ADC;
  PeriphClkInit.Usart1ClockSelection = RCC_USART1CLKSOURCE_PCLK2;
  PeriphClkInit.Lpuart1ClockSelection = RCC_LPUART1CLKSOURCE_HSI;
  PeriphClkInit.I2c1ClockSelection = RCC_I2C1CLKSOURCE_PCLK1;
  PeriphClkInit.I2c2ClockSelection = RCC_I2C2CLKSOURCE_PCLK1;
  PeriphClkInit.AdcClockSelection = RCC_ADCCLKSOURCE_SYSCLK;
  PeriphClkInit.RTCClockSelection = RCC_RTCCLKSOURCE_LSE;
  PeriphClkInit.RngClockSelection = RCC_RNGCLKSOURCE_MSI;
  if (HAL_RCCEx_PeriphCLKConfig(&PeriphClkInit) != HAL_OK)
  {
    Error_Handler();
  }
  HAL_RCCEx_EnableLSCO(RCC_LSCOSOURCE_LSE);
  /** Configure the main internal regulator output voltage
  */
  if (HAL_PWREx_ControlVoltageScaling(PWR_REGULATOR_VOLTAGE_SCALE2) != HAL_OK)
  {
    Error_Handler();
  }
  /** Enable MSI Auto calibration
  */
  HAL_RCCEx_EnableMSIPLLMode();
}

/* USER CODE BEGIN 4 */
void  vApplicationIdleHook(void)
{
  /* vApplicationIdleHook() will only be called if configUSE_IDLE_HOOK is set
  to 1 in FreeRTOSConfig.h. It will be called on each iteration of the idle
  task. It is essential that code added to this hook function never attempts
  to block in any way (for example, call xQueueReceive() with a block time
  specified, or call vTaskDelay()). If the application makes use of the
  vTaskDelete() API function (as this demo application does) then it is also
  important that vApplicationIdleHook() is permitted to return to its calling
  function, because it is the responsibility of the idle task to clean up
  memory allocated by the kernel to any task that has since been deleted. */

  /* Enter sleep mode */
  __asm volatile( "WFI" );
}

/* USER CODE END 4 */

 /**
  * @brief  Period elapsed callback in non blocking mode
  * @note   This function is called  when TIM2 interrupt took place, inside
  * HAL_TIM_IRQHandler(). It makes a direct call to HAL_IncTick() to increment
  * a global variable "uwTick" used as application time base.
  * @param  htim : TIM handle
  * @retval None
  */
void HAL_TIM_PeriodElapsedCallback(TIM_HandleTypeDef *htim)
{
  if (htim->Instance == TIM2) {
    HAL_IncTick();
  }
}

void Error_Handler(void)
{
  /* USER CODE BEGIN Error_Handler_Debug */
  /* User can add his own implementation to report the HAL error return state */

  /* Store error code */
  // TODO DF4IAH - coding needed here

  /* Switch off to be able to restart next interval */
  mainGotoDeepSleep();

  /* USER CODE END Error_Handler_Debug */
}

#ifdef  USE_FULL_ASSERT
/**
  * @brief  Reports the name of the source file and the source line number
  *         where the assert_param error has occurred.
  * @param  file: pointer to the source file name
  * @param  line: assert_param error line source number
  * @retval None
  */
void assert_failed(char *file, uint32_t line)
{
  /* USER CODE BEGIN 6 */
  /* User can add his own implementation to report the file name and line number,
     tex: printf("Wrong parameters value: file %s on line %d\r\n", file, line) */
  __NOP();
  /* USER CODE END 6 */
}
#endif /* USE_FULL_ASSERT */

/************************ (C) COPYRIGHT STMicroelectronics *****END OF FILE****/

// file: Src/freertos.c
/* USER CODE BEGIN Header */
/**
  ******************************************************************************
  * File Name          : freertos.c
  * Description        : Code for freertos applications
  ******************************************************************************
  * @attention
  *
  * <h2><center>&copy; Copyright (c) 2019 STMicroelectronics.
  * All rights reserved.</center></h2>
  *
  * This software component is licensed by ST under Ultimate Liberty license
  * SLA0044, the "License"; You may not use this file except in compliance with
  * the License. You may obtain a copy of the License at:
  *                             www.st.com/SLA0044
  *
  ******************************************************************************
  */
/* USER CODE END Header */

#include "FreeRTOS.h"
#include "task.h"
#include "main.h"
#include "cmsis_os.h"

/* USER CODE BEGIN Includes */
#include <string.h>

#include "i2c.h"
#include "spi.h"
#include "bus_i2c.h"
#include "bus_spi.h"
#include "device_fram.h"
#include "device_portexp.h"
#include "device_sx1261.h"
#include "task_esp.h"
#include "task_adc.h"
#include "task_sound.h"
#include "task_LoRaWAN.h"

#ifdef GNSS_EXTRA
# include "task_gnss.h"
#endif

/* USER CODE END Includes */

/* USER CODE BEGIN Variables */
extern I2C_HandleTypeDef hi2c1;
extern I2C_HandleTypeDef hi2c2;
extern DMA_HandleTypeDef hdma_i2c1_tx;
extern DMA_HandleTypeDef hdma_i2c1_rx;
extern DMA_HandleTypeDef hdma_i2c2_tx;
extern DMA_HandleTypeDef hdma_i2c2_rx;
extern SPI_HandleTypeDef hspi3;
extern DMA_HandleTypeDef hdma_spi3_tx;
extern DMA_HandleTypeDef hdma_spi3_rx;
extern UART_HandleTypeDef hlpuart1;
extern UART_HandleTypeDef huart1;
extern DMA_HandleTypeDef hdma_lpuart_tx;
extern DMA_HandleTypeDef hdma_lpuart_rx;

extern volatile uint8_t  spi3RxBuffer[SPI3_BUFFERSIZE];

extern volatile uint8_t  g_spi3SelBno;
extern volatile uint8_t  g_spi3SelSx;

extern IoT4BeesCtrlApp_up_t         g_Iot4BeesApp_up;
extern IoT4BeesCtrlApp_down_t       g_Iot4BeesApp_down;

EventGroupHandle_t globalEventGroupHandle;
EventGroupHandle_t controllerEventGroupHandle;
EventGroupHandle_t extiEventGroupHandle;
EventGroupHandle_t loraEventGroupHandle;
EventGroupHandle_t spiEventGroupHandle;
EventGroupHandle_t adcEventGroupHandle;

#ifdef GNSS_EXTRA
osThreadId gnssTaskHandle;
osMutexId gnssCtxMutexHandle;
osMessageQId gnssRxQueueHandle;

extern uint8_t                      g_gnss_reset;
#endif

/* USER CODE END Variables */
osThreadId defaultTaskHandle;
osThreadId usart1TxTaskHandle;
osThreadId usart1RxTaskHandle;
osThreadId lorawanTaskHandle;
osThreadId espTaskHandle;
osThreadId adcTaskHandle;
osThreadId soundTaskHandle;
osMessageQId usart1TxQueueHandle;
osMessageQId usart1RxQueueHandle;
osMessageQId loraInQueueHandle;
osMessageQId loraOutQueueHandle;
osMessageQId loraMacQueueHandle;
osMessageQId soundInQueueHandle;
osMutexId trackMeApplUpDataMutexHandle;
osMutexId trackMeApplDnDataMutexHandle;
osMutexId iot4BeesApplUpDataMutexHandle;
osMutexId iot4BeesApplDnDataMutexHandle;
osSemaphoreId usart1Tx_BSemHandle;
osSemaphoreId usart1Rx_BSemHandle;
osSemaphoreId i2c1_BSemHandle;
osSemaphoreId i2c2_BSemHandle;
osSemaphoreId spi3_BSemHandle;

void StartDefaultTask(void const * argument);
void StartUsart1TxTask(void const * argument);
void StartUsart1RxTask(void const * argument);
void StartLorawanTask(void const * argument);
void StartEspTask(void const * argument);
void StartAdcTask(void const * argument);
void StartSoundTask(void const * argument);

void MX_FREERTOS_Init(void); /* (MISRA C 2004 rule 8.1) */

/* GetIdleTaskMemory prototype (linked to static allocation support) */
void vApplicationGetIdleTaskMemory( StaticTask_t **ppxIdleTaskTCBBuffer, StackType_t **ppxIdleTaskStackBuffer, uint32_t *pulIdleTaskStackSize );

/* GetTimerTaskMemory prototype (linked to static allocation support) */
void vApplicationGetTimerTaskMemory( StaticTask_t **ppxTimerTaskTCBBuffer, StackType_t **ppxTimerTaskStackBuffer, uint32_t *pulTimerTaskStackSize );

/* Hook prototypes */
void configureTimerForRunTimeStats(void);
unsigned long getRunTimeCounterValue(void);
void vApplicationIdleHook(void);
void vApplicationStackOverflowHook(TaskHandle_t xTask, signed char *pcTaskName);
void vApplicationMallocFailedHook(void);

/* USER CODE BEGIN 1 */
/* Functions needed when configGENERATE_RUN_TIME_STATS is on */
__weak void configureTimerForRunTimeStats(void)
{

}

__weak unsigned long getRunTimeCounterValue(void)
{
return 0;
}
/* USER CODE END 1 */

/* USER CODE BEGIN 2 */
__weak void vApplicationIdleHook( void )
{
   /* vApplicationIdleHook() will only be called if configUSE_IDLE_HOOK is set
   to 1 in FreeRTOSConfig.h. It will be called on each iteration of the idle
   task. It is essential that code added to this hook function never attempts
   to block in any way (for example, call xQueueReceive() with a block time
   specified, or call vTaskDelay()). If the application makes use of the
   vTaskDelete() API function (as this demo application does) then it is also
   important that vApplicationIdleHook() is permitted to return to its calling
   function, because it is the responsibility of the idle task to clean up
   memory allocated by the kernel to any task that has since been deleted. */
}
/* USER CODE END 2 */

/* USER CODE BEGIN 4 */
__weak void vApplicationStackOverflowHook(TaskHandle_t xTask, signed char *pcTaskName)
{
   /* Run time stack overflow checking is performed if
   configCHECK_FOR_STACK_OVERFLOW is defined to 1 or 2. This hook function is
   called if a stack overflow is detected. */
}
/* USER CODE END 4 */

/* USER CODE BEGIN 5 */
__weak void vApplicationMallocFailedHook(void)
{
   /* vApplicationMallocFailedHook() will only be called if
   configUSE_MALLOC_FAILED_HOOK is set to 1 in FreeRTOSConfig.h. It is a hook
   function that will get called if a call to pvPortMalloc() fails.
   pvPortMalloc() is called internally by the kernel whenever a task, queue,
   timer or semaphore is created. It is also called by various parts of the
   demo application. If heap_1.c or heap_2.c are used, then the size of the
   heap available to pvPortMalloc() is defined by configTOTAL_HEAP_SIZE in
   FreeRTOSConfig.h, and the xPortGetFreeHeapSize() API function can be used
   to query the size of free heap space that remains (although it does not
   provide information on how the remaining heap might be fragmented). */
}
/* USER CODE END 5 */

/* USER CODE BEGIN GET_IDLE_TASK_MEMORY */
static StaticTask_t xIdleTaskTCBBuffer;
static StackType_t xIdleStack[configMINIMAL_STACK_SIZE];

void vApplicationGetIdleTaskMemory( StaticTask_t **ppxIdleTaskTCBBuffer, StackType_t **ppxIdleTaskStackBuffer, uint32_t *pulIdleTaskStackSize )
{
  *ppxIdleTaskTCBBuffer = &xIdleTaskTCBBuffer;
  *ppxIdleTaskStackBuffer = &xIdleStack[0];
  *pulIdleTaskStackSize = configMINIMAL_STACK_SIZE;
  /* place for user code */
}
/* USER CODE END GET_IDLE_TASK_MEMORY */

/* USER CODE BEGIN GET_TIMER_TASK_MEMORY */
static StaticTask_t xTimerTaskTCBBuffer;
static StackType_t xTimerStack[configTIMER_TASK_STACK_DEPTH];

void vApplicationGetTimerTaskMemory( StaticTask_t **ppxTimerTaskTCBBuffer, StackType_t **ppxTimerTaskStackBuffer, uint32_t *pulTimerTaskStackSize )
{
  *ppxTimerTaskTCBBuffer = &xTimerTaskTCBBuffer;
  *ppxTimerTaskStackBuffer = &xTimerStack[0];
  *pulTimerTaskStackSize = configTIMER_TASK_STACK_DEPTH;
  /* place for user code */
}
/* USER CODE END GET_TIMER_TASK_MEMORY */

void MX_FREERTOS_Init(void) {
  /* Create the mutex(es) */
  /* definition and creation of trackMeApplUpDataMutex */
  osMutexDef(trackMeApplUpDataMutex);
  trackMeApplUpDataMutexHandle = osMutexCreate(osMutex(trackMeApplUpDataMutex));

  /* definition and creation of trackMeApplDnDataMutex */
  osMutexDef(trackMeApplDnDataMutex);
  trackMeApplDnDataMutexHandle = osMutexCreate(osMutex(trackMeApplDnDataMutex));

  /* definition and creation of iot4BeesApplUpDataMutex */
  osMutexDef(iot4BeesApplUpDataMutex);
  iot4BeesApplUpDataMutexHandle = osMutexCreate(osMutex(iot4BeesApplUpDataMutex));

  /* definition and creation of iot4BeesApplDnDataMutex */
  osMutexDef(iot4BeesApplDnDataMutex);
  iot4BeesApplDnDataMutexHandle = osMutexCreate(osMutex(iot4BeesApplDnDataMutex));

  /* USER CODE BEGIN RTOS_MUTEX */
  /* add mutexes, ... */
#ifdef GNSS_EXTRA
  /* definition and creation of gnssCtxMutex */
  osMutexDef(gnssCtxMutex);
  gnssCtxMutexHandle = osMutexCreate(osMutex(gnssCtxMutex));
#endif
  /* USER CODE END RTOS_MUTEX */

  /* Create the semaphores(s) */
  /* definition and creation of usart1Tx_BSem */
  osSemaphoreDef(usart1Tx_BSem);
  usart1Tx_BSemHandle = osSemaphoreCreate(osSemaphore(usart1Tx_BSem), 1);

  /* definition and creation of usart1Rx_BSem */
  osSemaphoreDef(usart1Rx_BSem);
  usart1Rx_BSemHandle = osSemaphoreCreate(osSemaphore(usart1Rx_BSem), 1);

  /* definition and creation of i2c1_BSem */
  osSemaphoreDef(i2c1_BSem);
  i2c1_BSemHandle = osSemaphoreCreate(osSemaphore(i2c1_BSem), 1);

  /* definition and creation of i2c2_BSem */
  osSemaphoreDef(i2c2_BSem);
  i2c2_BSemHandle = osSemaphoreCreate(osSemaphore(i2c2_BSem), 1);

  /* definition and creation of spi3_BSem */
  osSemaphoreDef(spi3_BSem);
  spi3_BSemHandle = osSemaphoreCreate(osSemaphore(spi3_BSem), 1);

  /* USER CODE BEGIN RTOS_SEMAPHORES */
  /* add semaphores, ... */
  globalEventGroupHandle = xEventGroupCreate();
  controllerEventGroupHandle = xEventGroupCreate();
  extiEventGroupHandle = xEventGroupCreate();
  spiEventGroupHandle = xEventGroupCreate();
  adcEventGroupHandle = xEventGroupCreate();
  loraEventGroupHandle = xEventGroupCreate();
  /* USER CODE END RTOS_SEMAPHORES */

  /* Create the queue(s) */
  /* definition and creation of usart1TxQueue */
  osMessageQDef(usart1TxQueue, 256, uint8_t);
  usart1TxQueueHandle = osMessageCreate(osMessageQ(usart1TxQueue), NULL);

  /* definition and creation of usart1RxQueue */
  osMessageQDef(usart1RxQueue, 32, uint8_t);
  usart1RxQueueHandle = osMessageCreate(osMessageQ(usart1RxQueue), NULL);

  /* definition and creation of loraInQueue */
  osMessageQDef(loraInQueue, 32, uint8_t);
  loraInQueueHandle = osMessageCreate(osMessageQ(loraInQueue), NULL);

  /* definition and creation of loraOutQueue */
  osMessageQDef(loraOutQueue, 32, uint8_t);
  loraOutQueueHandle = osMessageCreate(osMessageQ(loraOutQueue), NULL);

  /* definition and creation of loraMacQueue */
  osMessageQDef(loraMacQueue, 8, uint8_t);
  loraMacQueueHandle = osMessageCreate(osMessageQ(loraMacQueue), NULL);

  /* definition and creation of soundInQueue */
  osMessageQDef(soundInQueue, 8, uint32_t);
  soundInQueueHandle = osMessageCreate(osMessageQ(soundInQueue), NULL);

  /* USER CODE BEGIN RTOS_QUEUES */
  /* add queues, ... */
#ifdef GNSS_EXTRA
  /* definition and creation of soundInQueue */
  osMessageQDef(gnssRxQueue, 128, uint8_t);
  gnssRxQueueHandle = osMessageCreate(osMessageQ(gnssRxQueue), NULL);
#endif
  /* USER CODE END RTOS_QUEUES */

  /* Create the thread(s) */
  /* definition and creation of defaultTask */
  osThreadDef(defaultTask, StartDefaultTask, osPriorityBelowNormal, 0, 512);
  defaultTaskHandle = osThreadCreate(osThread(defaultTask), NULL);

  /* definition and creation of usart1TxTask */
  osThreadDef(usart1TxTask, StartUsart1TxTask, osPriorityNormal, 0, 256);
  usart1TxTaskHandle = osThreadCreate(osThread(usart1TxTask), NULL);

  /* definition and creation of usart1RxTask */
  osThreadDef(usart1RxTask, StartUsart1RxTask, osPriorityAboveNormal, 0, 256);
  usart1RxTaskHandle = osThreadCreate(osThread(usart1RxTask), NULL);

  /* definition and creation of lorawanTask */
  osThreadDef(lorawanTask, StartLorawanTask, osPriorityNormal, 0, 512);
  lorawanTaskHandle = osThreadCreate(osThread(lorawanTask), NULL);

  /* definition and creation of espTask */
  osThreadDef(espTask, StartEspTask, osPriorityNormal, 0, 512);
  espTaskHandle = osThreadCreate(osThread(espTask), NULL);

  /* definition and creation of adcTask */
  osThreadDef(adcTask, StartAdcTask, osPriorityNormal, 0, 512);
  adcTaskHandle = osThreadCreate(osThread(adcTask), NULL);

  /* definition and creation of soundTask */
  osThreadDef(soundTask, StartSoundTask, osPriorityLow, 0, 256);
  soundTaskHandle = osThreadCreate(osThread(soundTask), NULL);

  /* USER CODE BEGIN RTOS_THREADS */
  /* add threads, ... */
#ifdef GNSS_EXTRA
  osThreadDef(gnssTask, StartGnssTask, osPriorityNormal, 0, 512);
  gnssTaskHandle = osThreadCreate(osThread(gnssTask), NULL);
#endif

  /* add to registry */
  vQueueAddToRegistry(usart1TxQueueHandle,          "Q usarTx");
  vQueueAddToRegistry(usart1RxQueueHandle,          "Q usarRx");
  vQueueAddToRegistry(loraInQueueHandle,            "Q LoRaIn");
  vQueueAddToRegistry(loraOutQueueHandle,           "Q LoRaOut");
  vQueueAddToRegistry(loraMacQueueHandle,           "Q LoRaMac");
  vQueueAddToRegistry(soundInQueueHandle,           "Q soundIn");
//vQueueAddToRegistry(lpuart1TxQueueHandle,         "Q lpuarTx");
//vQueueAddToRegistry(lpuart1RxQueueHandle,         "Q lpuarRx");
//vQueueAddToRegistry(controllerInQueueHandle,      "Q ctrlIn");
//vQueueAddToRegistry(controllerOutQueueHandle,     "Q ctrlOut");
#ifdef GNSS_EXTRA
  vQueueAddToRegistry(gnssRxQueueHandle,            "Q gnssRx");
#endif

  vQueueAddToRegistry(usart1Tx_BSemHandle,          "Rs usartT");
  vQueueAddToRegistry(usart1Rx_BSemHandle,          "Rs usartR");
  vQueueAddToRegistry(i2c1_BSemHandle,              "Rs I2C1");
  vQueueAddToRegistry(i2c2_BSemHandle,              "Rs I2C2");
  vQueueAddToRegistry(spi3_BSemHandle,              "Rs SPI3");
//vQueueAddToRegistry(lpuart1Tx_BSemHandle,         "Rs lpuarT");
//vQueueAddToRegistry(lpuart1Rx_BSemHandle,         "Rs lpuarR");

//vQueueAddToRegistry(cQin_BSemHandle,              "Rs cQin");
//vQueueAddToRegistry(cQout_BSemHandle,             "Rs cQout");

//vQueueAddToRegistry(c2default_BSemHandle,         "Wk c2dflt");
//vQueueAddToRegistry(c2interpreter_BSemHandle,     "Wk c2intr");
//vQueueAddToRegistry(c2usart1Tx_BSemHandle,        "Wk c2usaT");
//vQueueAddToRegistry(c2usart1Rx_BSemHandle,        "Wk c2usaR");
//vQueueAddToRegistry(c2lpuart1Tx_BSemHandle,       "Wk c2lpuT");
//vQueueAddToRegistry(c2lpuart1Rx_BSemHandle,       "Wk c2lpuR");

  vQueueAddToRegistry(trackMeApplUpDataMutexHandle, "Mx LoRaUp");
  vQueueAddToRegistry(trackMeApplDnDataMutexHandle, "Mx LoRaDn");
#ifdef GNSS_EXTRA
  vQueueAddToRegistry(gnssCtxMutexHandle,           "Mx gnss");
#endif

  /* USER CODE END RTOS_THREADS */

}

void StartDefaultTask(void const * argument)
{
  /* USER CODE BEGIN StartDefaultTask */
  /* Resonancy of piezoelectric speaker @ 600 Hz +/- 300 Hz */
  const uint32_t pitch          = 635000UL;
  const uint32_t silence        = 0UL;
  TickType_t previousWakeTime   = 0UL;

  /* Check if REED_WKUP is active @ 0sec */
  if (GPIO_PIN_SET == HAL_GPIO_ReadPin(REED_WKUP_GPIO_Port, REED_WKUP_Pin)) {
    /* 1x Beep */
    xQueueSend(soundInQueueHandle, &pitch, 1UL);
    xQueueSend(soundInQueueHandle, &silence, 1UL);

    /* Inform */
    xEventGroupSetBits(globalEventGroupHandle, Global_EGW__REEDWKUP_00SEC);
  }

  /* I2C1 */
  i2cx_Init(&hi2c1, i2c1_BSemHandle);

//#define TEST_I2C1_ADDR_SCAN
#ifdef  TEST_I2C1_ADDR_SCAN
  /* Wait until I2C is ready */
  xEventGroupWaitBits(globalEventGroupHandle, Global_EGW__I2C_RDY, 0UL, pdFALSE, portMAX_DELAY);

  i2cBusAddrScan(&hi2c1, i2c1_BSemHandle);

  while (1) {
    osDelay(1000UL);
  }
#endif

  /* Check if REED_WKUP is active @ 5sec */
  osDelayUntil(&previousWakeTime,  5000UL);
  if (GPIO_PIN_SET == HAL_GPIO_ReadPin(REED_WKUP_GPIO_Port, REED_WKUP_Pin)) {
    /* 2x Beep */
    xQueueSend(soundInQueueHandle, &pitch, 1UL);
    xQueueSend(soundInQueueHandle, &silence, 1UL);
    xQueueSend(soundInQueueHandle, &pitch, 1UL);
    xQueueSend(soundInQueueHandle, &silence, 1UL);

    /* Inform */
    xEventGroupSetBits(globalEventGroupHandle, Global_EGW__REEDWKUP_05SEC);
  }

  /* Check if REED_WKUP is active @ 10sec */
  osDelayUntil(&previousWakeTime, 5000UL);
  if (GPIO_PIN_SET == HAL_GPIO_ReadPin(REED_WKUP_GPIO_Port, REED_WKUP_Pin)) {
    /* 3x Beep */
    xQueueSend(soundInQueueHandle, &pitch, 1UL);
    xQueueSend(soundInQueueHandle, &silence, 1UL);
    xQueueSend(soundInQueueHandle, &pitch, 1UL);
    xQueueSend(soundInQueueHandle, &silence, 1UL);
    xQueueSend(soundInQueueHandle, &pitch, 1UL);
    xQueueSend(soundInQueueHandle, &silence, 1UL);

    /* Inform */
    xEventGroupSetBits(globalEventGroupHandle, Global_EGW__REEDWKUP_10SEC);
  }

#ifdef POWEROFF_AFTER_TXRX

#ifdef GNSS_EXTRA
  /* Reset GNSS chip @ 3 minutes */
  osDelayUntil(&previousWakeTime, 180UL * 1000UL);
  g_gnss_reset = 1U;

  /* Hard switch-off @ 3 minutes + 10 Sec */
  osDelayUntil(&previousWakeTime, 190UL * 1000UL);

#else
  /* Hard switch-off after 30 seconds */
  osDelayUntil(&previousWakeTime, 30000UL);
#endif
  mainGotoDeepSleep();

#else

  for (;;) {
    osDelay(8 * 60000UL);
  }

#endif

  /* USER CODE END StartDefaultTask */
}

void StartUsart1TxTask(void const * argument)
{
  for(;;)
  {
    osDelay(1);
  }
}

void StartUsart1RxTask(void const * argument)
{
  for(;;)
  {
    osDelay(1);
  }
}

void StartLorawanTask(void const * argument)
{
  for(;;)
  {
    osDelay(1);
  }
}

void StartEspTask(void const * argument)
{
  for(;;)
  {
    osDelay(1);
  }
}

void StartAdcTask(void const * argument)
{
  for(;;)
  {
    osDelay(1);
  }
}

void StartSoundTask(void const * argument)
{
  for(;;)
  {
    osDelay(1);
  }
}

/* USER CODE BEGIN Application */
#ifdef GNSS_EXTRA
void StartGnssTask(void const * argument)
{
  gnssTaskInit();

  /* Infinite loop */
  for(;;)
  {
    gnssTaskLoop();
  }
}
#endif

/* USER CODE END Application */

/************************ (C) COPYRIGHT STMicroelectronics *****END OF FILE****/
